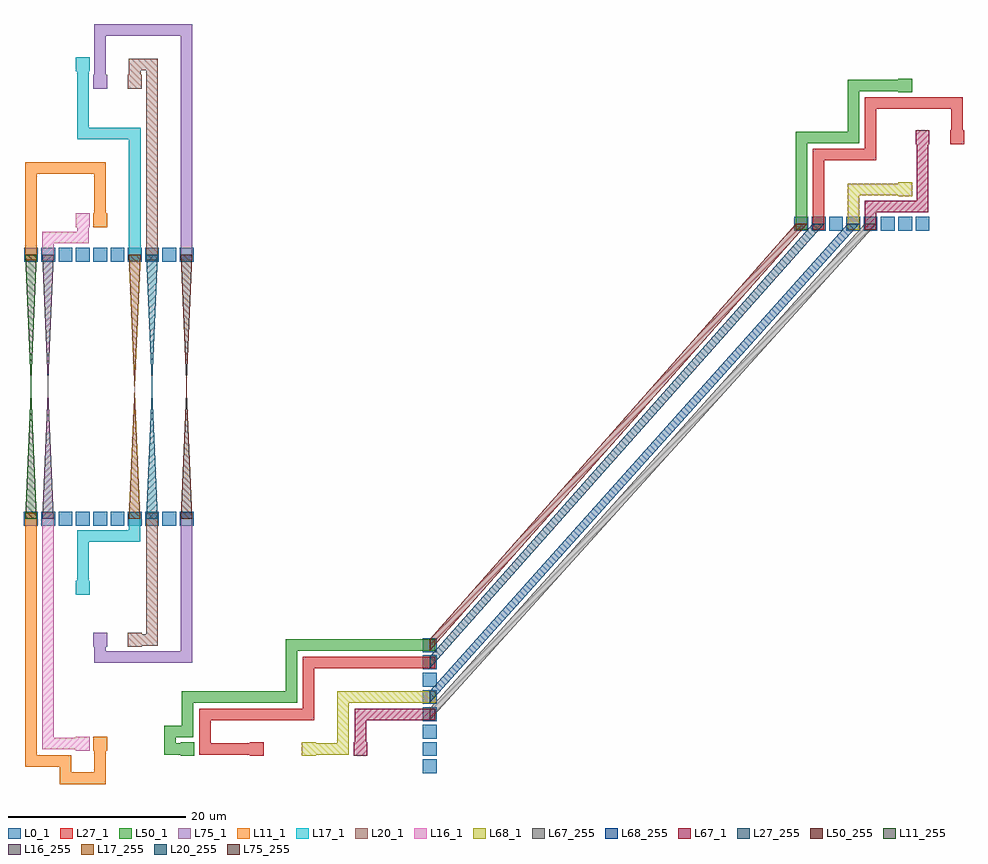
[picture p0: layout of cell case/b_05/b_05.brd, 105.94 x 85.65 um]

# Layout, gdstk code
import gdstk
lib = gdstk.Library(unit=1e-6, precision=2.5e-10)
def R(c, l, rs):  # rectangles x0, y0, x1, y1
    for r in rs: c.add(gdstk.rectangle(r[:2], r[2:], *l))
def A(c, l, x, y, w, h, nx, ny, dx, dy):  # array of equal rectangles
    R(c, l, [(x+i*dx, y+j*dy, x+i*dx+w, y+j*dy+h) for i in range(nx) for j in range(ny)])
def P(c, l, *ps):  # polygons
    for p in ps: c.add(gdstk.Polygon(p, *l))
L0_1 = (0, 1)
L11_1 = (11, 1)
L11_255 = (11, 255)
L16_1 = (16, 1)
L16_255 = (16, 255)
L17_1 = (17, 1)
L17_255 = (17, 255)
L20_1 = (20, 1)
L20_255 = (20, 255)
L27_1 = (27, 1)
L27_255 = (27, 255)
L50_1 = (50, 1)
L50_255 = (50, 255)
L67_1 = (67, 1)
L67_255 = (67, 255)
L68_1 = (68, 1)
L68_255 = (68, 255)
L75_1 = (75, 1)
L75_255 = (75, 255)

case_b_05_b_05_brd = lib.new_cell('case/b_05/b_05.brd')
R(case_b_05_b_05_brd, L0_1, [(516.107,201.269,517.667,202.829), (516.107,201.269,517.667,202.829), (516.107,201.269,517.667,202.829), (516.107,201.269,517.667,202.829), (516.107,203.219,517.667,204.779), (516.107,203.219,517.667,204.779), (516.107,203.219,517.667,204.779), (516.107,203.219,517.667,204.779), (516.107,205.169,517.667,206.729), (516.107,205.169,517.667,206.729), (516.107,205.169,517.667,206.729), (516.107,205.169,517.667,206.729), (516.107,207.119,517.667,208.679), (516.107,207.119,517.667,208.679), (516.107,207.119,517.667,208.679), (516.107,207.119,517.667,208.679), (516.107,209.069,517.667,210.629), (516.107,209.069,517.667,210.629), (516.107,209.069,517.667,210.629), (516.107,209.069,517.667,210.629), (516.107,211.019,517.667,212.579), (516.107,211.019,517.667,212.579), (516.107,211.019,517.667,212.579), (516.107,211.019,517.667,212.579), (516.107,212.969,517.667,214.529), (516.107,212.969,517.667,214.529), (516.107,212.969,517.667,214.529), (516.107,212.969,517.667,214.529), (516.107,214.919,517.667,216.479), (516.107,214.919,517.667,216.479), (516.107,214.919,517.667,216.479), (516.107,214.919,517.667,216.479), (471.162,229.166,472.722,230.726), (471.162,229.166,472.722,230.726), (471.162,229.166,472.722,230.726), (471.162,229.166,472.722,230.726), (471.162,229.166,472.722,230.726), (473.112,229.166,474.672,230.726), (473.112,229.166,474.672,230.726), (473.112,229.166,474.672,230.726), (473.112,229.166,474.672,230.726), (473.112,229.166,474.672,230.726), (475.062,229.166,476.622,230.726), (475.062,229.166,476.622,230.726), (475.062,229.166,476.622,230.726), (475.062,229.166,476.622,230.726), (475.062,229.166,476.622,230.726), (477.012,229.166,478.572,230.726), (477.012,229.166,478.572,230.726), (477.012,229.166,478.572,230.726), (477.012,229.166,478.572,230.726), (477.012,229.166,478.572,230.726), (478.962,229.166,480.522,230.726), (478.962,229.166,480.522,230.726), (478.962,229.166,480.522,230.726), (478.962,229.166,480.522,230.726), (478.962,229.166,480.522,230.726), (480.912,229.166,482.472,230.726), (480.912,229.166,482.472,230.726), (480.912,229.166,482.472,230.726), (480.912,229.166,482.472,230.726), (480.912,229.166,482.472,230.726), (482.862,229.166,484.422,230.726), (482.862,229.166,484.422,230.726), (482.862,229.166,484.422,230.726), (482.862,229.166,484.422,230.726), (482.862,229.166,484.422,230.726), (484.812,229.166,486.372,230.726), (484.812,229.166,486.372,230.726), (484.812,229.166,486.372,230.726), (484.812,229.166,486.372,230.726), (484.812,229.166,486.372,230.726), (486.762,229.166,488.322,230.726), (486.762,229.166,488.322,230.726), (486.762,229.166,488.322,230.726), (486.762,229.166,488.322,230.726), (486.762,229.166,488.322,230.726), (488.712,229.166,490.272,230.726), (488.712,229.166,490.272,230.726), (488.712,229.166,490.272,230.726), (488.712,229.166,490.272,230.726), (488.712,229.166,490.272,230.726), (471.163,258.919,472.723,260.479), (471.163,258.919,472.723,260.479), (471.163,258.919,472.723,260.479), (471.163,258.919,472.723,260.479), (471.163,258.919,472.723,260.479), (473.113,258.919,474.673,260.479), (473.113,258.919,474.673,260.479), (473.113,258.919,474.673,260.479), (473.113,258.919,474.673,260.479), (473.113,258.919,474.673,260.479), (475.063,258.919,476.623,260.479), (475.063,258.919,476.623,260.479), (475.063,258.919,476.623,260.479), (475.063,258.919,476.623,260.479), (475.063,258.919,476.623,260.479), (477.013,258.919,478.573,260.479), (477.013,258.919,478.573,260.479), (477.013,258.919,478.573,260.479), (477.013,258.919,478.573,260.479), (477.013,258.919,478.573,260.479), (478.963,258.919,480.523,260.479), (478.963,258.919,480.523,260.479), (478.963,258.919,480.523,260.479), (478.963,258.919,480.523,260.479), (478.963,258.919,480.523,260.479), (480.913,258.919,482.473,260.479), (480.913,258.919,482.473,260.479), (480.913,258.919,482.473,260.479), (480.913,258.919,482.473,260.479), (480.913,258.919,482.473,260.479), (482.863,258.919,484.423,260.479), (482.863,258.919,484.423,260.479), (482.863,258.919,484.423,260.479), (482.863,258.919,484.423,260.479), (482.863,258.919,484.423,260.479), (484.813,258.919,486.373,260.479), (484.813,258.919,486.373,260.479), (484.813,258.919,486.373,260.479), (484.813,258.919,486.373,260.479), (484.813,258.919,486.373,260.479), (486.763,258.919,488.323,260.479), (486.763,258.919,488.323,260.479), (486.763,258.919,488.323,260.479), (486.763,258.919,488.323,260.479), (486.763,258.919,488.323,260.479), (488.713,258.919,490.273,260.479), (488.713,258.919,490.273,260.479), (488.713,258.919,490.273,260.479), (488.713,258.919,490.273,260.479), (488.713,258.919,490.273,260.479), (557.993,262.389,559.553,263.949), (557.993,262.389,559.553,263.949), (557.993,262.389,559.553,263.949), (557.993,262.389,559.553,263.949), (559.943,262.389,561.503,263.949), (559.943,262.389,561.503,263.949), (559.943,262.389,561.503,263.949), (559.943,262.389,561.503,263.949), (561.893,262.389,563.453,263.949), (561.893,262.389,563.453,263.949), (561.893,262.389,563.453,263.949), (561.893,262.389,563.453,263.949), (563.843,262.389,565.403,263.949), (563.843,262.389,565.403,263.949), (563.843,262.389,565.403,263.949), (563.843,262.389,565.403,263.949), (565.793,262.389,567.353,263.949), (565.793,262.389,567.353,263.949), (565.793,262.389,567.353,263.949), (565.793,262.389,567.353,263.949), (567.743,262.389,569.303,263.949), (567.743,262.389,569.303,263.949), (567.743,262.389,569.303,263.949), (567.743,262.389,569.303,263.949), (569.693,262.389,571.253,263.949), (569.693,262.389,571.253,263.949), (569.693,262.389,571.253,263.949), (569.693,262.389,571.253,263.949), (571.643,262.389,573.203,263.949), (571.643,262.389,573.203,263.949), (571.643,262.389,573.203,263.949), (571.643,262.389,573.203,263.949)])
A(case_b_05_b_05_brd, L11_1, 471.292, 201.996, 1.3, 3.25, 1, 14, 0, 1.95)
A(case_b_05_b_05_brd, L11_1, 471.293, 259.049, 1.3, 3.25, 1, 5, 0, 1.95)
A(case_b_05_b_05_brd, L11_1, 479.093, 262.949, 1.3, 3.25, 1, 3, 0, 1.95)
A(case_b_05_b_05_brd, L11_1, 471.293, 268.799, 3.25, 1.3, 4, 1, 1.95, 0)
R(case_b_05_b_05_brd, L11_1, [(475.192,200.046,478.442,201.346), (475.192,200.046,476.492,203.296), (477.142,200.046,480.392,201.346), (479.092,200.046,480.392,203.296), (471.292,201.996,474.542,203.296), (473.242,201.996,476.492,203.296), (479.092,201.996,480.392,205.246), (478.962,203.816,480.522,205.376), (478.963,262.819,480.523,264.379)])
P(case_b_05_b_05_brd, L11_255, [(471.293,259.699),(472.593,259.699),(471.292,229.946),(472.592,229.946)])
A(case_b_05_b_05_brd, L16_1, 473.242, 203.946, 1.3, 3.25, 1, 13, 0, 1.95)
R(case_b_05_b_05_brd, L16_1, [(477.012,203.816,478.572,205.376), (473.242,203.946,476.492,205.246), (475.192,203.946,478.442,205.246), (473.243,259.049,474.543,262.299), (473.243,260.999,476.493,262.299), (475.193,260.999,478.443,262.299), (477.143,260.999,478.443,264.249), (477.013,262.819,478.573,264.379)])
P(case_b_05_b_05_brd, L16_255, [(473.243,259.699),(474.543,259.699),(473.242,229.946),(474.542,229.946)])
A(case_b_05_b_05_brd, L17_1, 477.142, 221.496, 1.3, 3.25, 1, 3, 0, 1.95)
A(case_b_05_b_05_brd, L17_1, 477.142, 227.346, 3.25, 1.3, 3, 1, 1.95, 0)
A(case_b_05_b_05_brd, L17_1, 482.993, 259.049, 1.3, 3.25, 1, 7, 0, 1.95)
A(case_b_05_b_05_brd, L17_1, 477.143, 272.699, 3.25, 1.3, 3, 1, 1.95, 0)
A(case_b_05_b_05_brd, L17_1, 477.143, 272.699, 1.3, 3.25, 1, 4, 0, 1.95)
R(case_b_05_b_05_brd, L17_1, [(477.012,221.366,478.572,222.926), (482.992,227.346,484.292,230.596), (477.013,280.369,478.573,281.929)])
P(case_b_05_b_05_brd, L17_255, [(482.993,259.699),(484.293,259.699),(482.992,229.946),(484.292,229.946)])
A(case_b_05_b_05_brd, L20_1, 484.942, 215.646, 1.3, 3.25, 1, 7, 0, 1.95)
A(case_b_05_b_05_brd, L20_1, 484.943, 259.049, 1.3, 3.25, 1, 11, 0, 1.95)
R(case_b_05_b_05_brd, L20_1, [(482.862,215.516,484.422,217.076), (482.992,215.646,486.242,216.946), (482.863,278.419,484.423,279.979), (482.993,278.549,484.293,281.799), (482.993,280.499,486.243,281.799)])
P(case_b_05_b_05_brd, L20_255, [(484.943,259.699),(486.243,259.699),(484.942,229.946),(486.242,229.946)])
A(case_b_05_b_05_brd, L27_1, 490.887, 203.349, 3.25, 1.3, 3, 1, 1.95, 0)
A(case_b_05_b_05_brd, L27_1, 490.887, 207.249, 3.25, 1.3, 6, 1, 1.95, 0)
A(case_b_05_b_05_brd, L27_1, 502.587, 207.249, 1.3, 3.25, 1, 3, 0, 1.95)
A(case_b_05_b_05_brd, L27_1, 502.587, 213.099, 3.25, 1.3, 7, 1, 1.95, 0)
A(case_b_05_b_05_brd, L27_1, 560.073, 262.519, 1.3, 3.25, 1, 4, 0, 1.95)
A(case_b_05_b_05_brd, L27_1, 560.073, 270.319, 3.25, 1.3, 3, 1, 1.95, 0)
A(case_b_05_b_05_brd, L27_1, 565.923, 270.319, 1.3, 3.25, 1, 3, 0, 1.95)
A(case_b_05_b_05_brd, L27_1, 565.923, 276.169, 3.25, 1.3, 5, 1, 1.95, 0)
R(case_b_05_b_05_brd, L27_1, [(496.607,203.219,498.167,204.779), (490.887,203.349,492.187,206.599), (490.887,205.299,492.187,208.549), (575.543,272.139,577.103,273.699), (575.673,272.269,576.973,275.519), (575.673,274.219,576.973,277.469)])
P(case_b_05_b_05_brd, L27_255, [(560.073,263.169),(561.373,263.169),(516.887,213.099),(516.887,214.399)])
A(case_b_05_b_05_brd, L50_1, 488.937, 209.199, 3.25, 1.3, 6, 1, 1.95, 0)
A(case_b_05_b_05_brd, L50_1, 500.637, 209.199, 1.3, 3.25, 1, 3, 0, 1.95)
A(case_b_05_b_05_brd, L50_1, 500.637, 215.049, 3.25, 1.3, 8, 1, 1.95, 0)
A(case_b_05_b_05_brd, L50_1, 558.123, 262.519, 1.3, 3.25, 1, 5, 0, 1.95)
A(case_b_05_b_05_brd, L50_1, 558.123, 272.269, 3.25, 1.3, 3, 1, 1.95, 0)
A(case_b_05_b_05_brd, L50_1, 563.973, 272.269, 1.3, 3.25, 1, 3, 0, 1.95)
A(case_b_05_b_05_brd, L50_1, 563.973, 278.119, 3.25, 1.3, 3, 1, 1.95, 0)
R(case_b_05_b_05_brd, L50_1, [(488.807,203.219,490.367,204.779), (486.987,203.349,490.237,204.649), (486.987,203.349,488.287,206.599), (486.987,205.299,490.237,206.599), (488.937,205.299,490.237,208.549), (488.937,207.249,490.237,210.499), (569.693,277.989,571.253,279.549)])
P(case_b_05_b_05_brd, L50_255, [(558.123,263.169),(559.423,263.169),(516.887,215.049),(516.887,216.349)])
A(case_b_05_b_05_brd, L67_1, 508.437, 207.249, 3.25, 1.3, 4, 1, 1.95, 0)
A(case_b_05_b_05_brd, L67_1, 565.923, 264.469, 3.25, 1.3, 3, 1, 1.95, 0)
A(case_b_05_b_05_brd, L67_1, 571.773, 264.469, 1.3, 3.25, 1, 4, 0, 1.95)
R(case_b_05_b_05_brd, L67_1, [(508.307,203.219,509.867,204.779), (508.437,203.349,509.737,206.599), (508.437,205.299,509.737,208.549), (565.923,262.519,567.223,265.769), (571.643,272.139,573.203,273.699)])
P(case_b_05_b_05_brd, L67_255, [(565.923,263.169),(567.223,263.169),(516.887,207.249),(516.887,208.549)])
A(case_b_05_b_05_brd, L68_1, 506.487, 203.349, 1.3, 3.25, 1, 3, 0, 1.95)
A(case_b_05_b_05_brd, L68_1, 506.487, 209.199, 3.25, 1.3, 5, 1, 1.95, 0)
A(case_b_05_b_05_brd, L68_1, 563.973, 266.419, 3.25, 1.3, 3, 1, 1.95, 0)
R(case_b_05_b_05_brd, L68_1, [(502.457,203.219,504.017,204.779), (502.587,203.349,505.837,204.649), (504.537,203.349,507.787,204.649), (563.973,262.519,565.273,265.769), (563.973,264.469,565.273,267.719), (569.693,266.289,571.253,267.849)])
P(case_b_05_b_05_brd, L68_255, [(563.973,263.169),(565.273,263.169),(516.887,209.199),(516.887,210.499)])
A(case_b_05_b_05_brd, L75_1, 479.092, 213.696, 3.25, 1.3, 5, 1, 1.95, 0)
A(case_b_05_b_05_brd, L75_1, 488.842, 213.696, 1.3, 3.25, 1, 8, 0, 1.95)
A(case_b_05_b_05_brd, L75_1, 488.843, 259.049, 1.3, 3.25, 1, 13, 0, 1.95)
A(case_b_05_b_05_brd, L75_1, 479.093, 278.549, 1.3, 3.25, 1, 3, 0, 1.95)
A(case_b_05_b_05_brd, L75_1, 479.093, 284.399, 3.25, 1.3, 5, 1, 1.95, 0)
R(case_b_05_b_05_brd, L75_1, [(479.092,213.696,480.392,216.946), (478.962,215.516,480.522,217.076), (478.963,278.419,480.523,279.979)])
P(case_b_05_b_05_brd, L75_255, [(488.843,259.699),(490.143,259.699),(488.842,229.946),(490.142,229.946)])

lib.write_gds('case_b_05_b_05.brd.gds')
